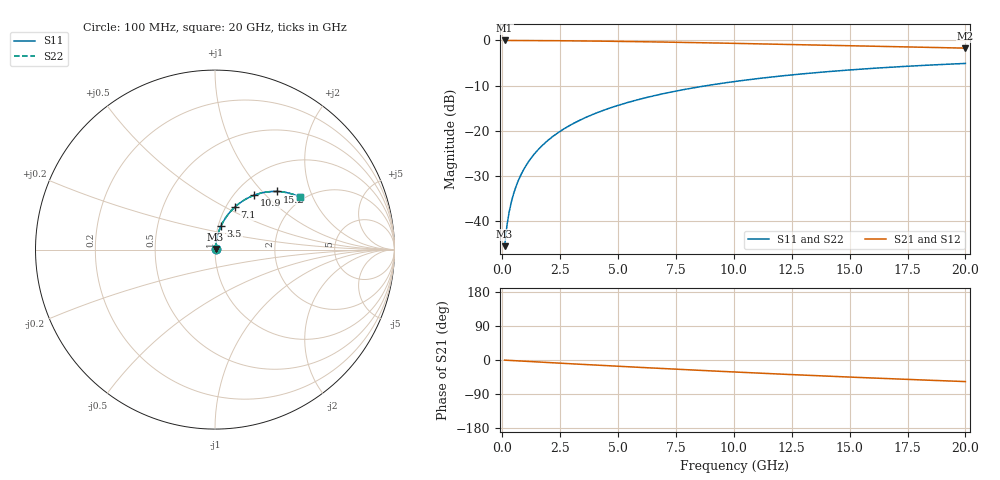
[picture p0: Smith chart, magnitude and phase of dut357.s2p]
! Touchstone file exported from HFSS 2026.1.0
!  File:  C:/ffzhzh/LocalFiles/Ansys_Project_Files/temp_train_TMRDL_357_1783004101_51716.aedt
!  Generated:  10:56:39 PM Jul  2, 2026
!  Design:  TMRDL
!  Project:  temp_train_TMRDL_357_1783004101_51716
! Variables:
!  h_bsmrdl = 2um
!  h_ox = 20um
!  h_rdl = 5um
!  h_sub = 80um
!  h_tmrdl = 5.23um
!  h_tsv = 80um
!  h_via = 3um
!  l_bsmrdl = 300um
!  l_sub = 1240.37um
!  l_tmrdl = 840.37um
!  m_sub = 200um
!  pitch = 58.81um
!  r_tsv = 6um
!  s_tmrdl = 10um
!  w_bsmrdl = 18um
!  w_sub = 500um
!  w_tmrdl = 18.08um
!  x_tsv_center1 = 849.41um
!  x_tsv_center2 = 1167.41um
!  x_tsv_center3 = 2025.86um
!  x_tsv_center4 = 2343.86um
!  x_tsv_center5 = 3202.31um
!  x_tsv_center6 = 3520.31um
# GHz S MA R 50.000000
! Terminal data exported
! Port[1] = TM_RDL1_1_T1
! Port[2] = TM_RDL1_1_T2
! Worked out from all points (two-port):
!   200 points, 100 MHz to 20 GHz, reference 50 ohm
!   highest |S21| = -0.03 dB at 100 MHz (marker M1); lowest = -1.7 dB at 20 GHz (marker M2)
!   |S21| within 3 dB of the highest: start of sweep to end of sweep
!   lowest |S11| = -45.5 dB at 100 MHz (marker M3), VSWR 1.01, Z = 50.3 + j0.419 ohm
!   |S11| at or under -10 dB: start of sweep to 8.849 GHz
!   |S22| runs from -45.5 to -5.1 dB; largest |S21 - S12| = 7.1e-15
!   S11 on the Smith chart (normalised r, x): 100 MHz: 1.01, +0.01; 3.5 GHz: 1.03, +0.28; 7.1 GHz: 1.10, +0.56; 10.9 GHz: 1.22, +0.86; 15.2 GHz: 1.46, +1.22; 20 GHz: 1.89, +1.61
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0.1  0.005298 51.9  0.9967 -0.3  0.9967 -0.3  0.005298 51.9
! Gamma 0 0 0 0
! Port Impedance 50 0 50 0
0.2  0.008951 67.1  0.9966 -0.7  0.9966 -0.7  0.008951 67.1
0.3  0.0128 73.0  0.9964 -1.0  0.9964 -1.0  0.0128 73.0
0.4  0.01669 76.1  0.9963 -1.4  0.9963 -1.4  0.01669 76.1
0.5  0.0206 77.9  0.9961 -1.7  0.9961 -1.7  0.0206 77.9
0.7  0.02845 79.9  0.9958 -2.4  0.9958 -2.4  0.02845 79.9
1  0.04027 80.9  0.9952 -3.4  0.9952 -3.4  0.04027 80.9
1.4  0.05602 80.9  0.9942 -4.7  0.9942 -4.7  0.05602 80.9
2  0.07946 79.8  0.9921 -6.8  0.9921 -6.8  0.07946 79.8
2.7  0.1064 78.0  0.9889 -9.1  0.9889 -9.1  0.1064 78.0
3.5  0.1365 75.7  0.9844 -11.7  0.9844 -11.7  0.1365 75.7
4.2  0.1622 73.6  0.9798 -14.0  0.9798 -14.0  0.1622 73.6
5  0.1908 71.2  0.9739 -16.5  0.9739 -16.5  0.1908 71.2
6.8  0.2521 65.8  0.9586 -22.1  0.9586 -22.1  0.2521 65.8
7.1  0.2619 64.9  0.9558 -23.0  0.9558 -23.0  0.2619 64.9
8.5  0.3058 60.9  0.9421 -27.2  0.9421 -27.2  0.3058 60.9
10.1  0.3523 56.4  0.9252 -31.9  0.9252 -31.9  0.3523 56.4
10.9  0.3741 54.2  0.9165 -34.1  0.9165 -34.1  0.3741 54.2
13.4  0.4358 47.6  0.8886 -40.9  0.8886 -40.9  0.4358 47.6
15.2  0.4744 43.1  0.8686 -45.6  0.8686 -45.6  0.4744 43.0
16.7  0.503 39.4  0.8525 -49.3  0.8525 -49.3  0.503 39.4
20  0.5554 31.9  0.8198 -57.0  0.8198 -57.0  0.5554 31.9
